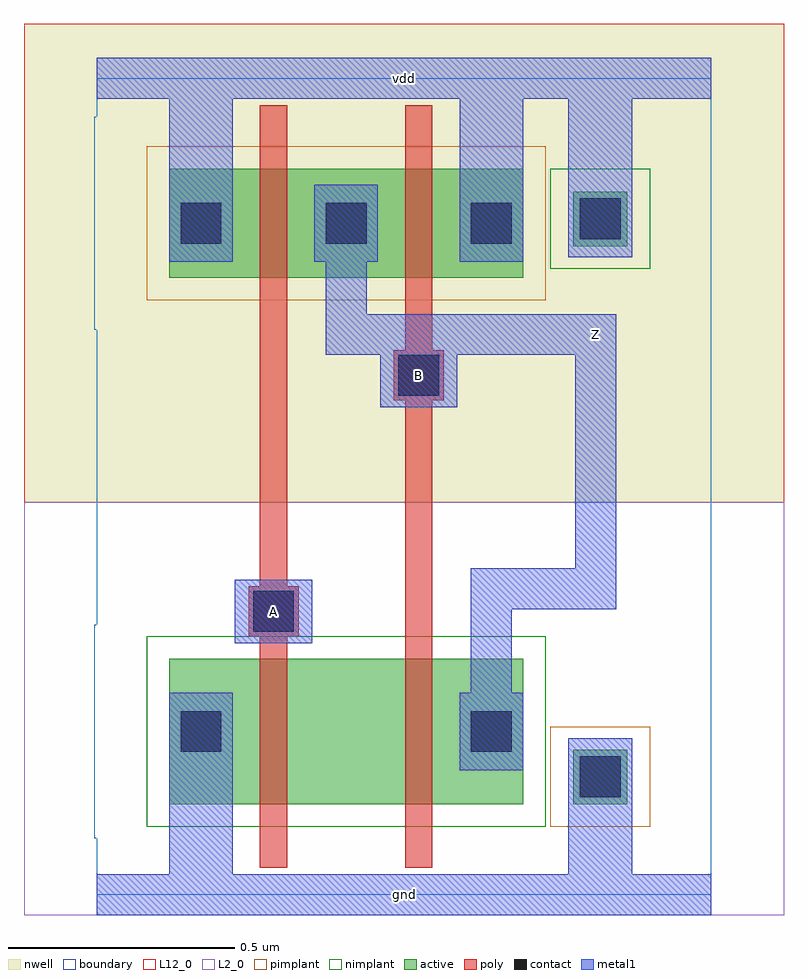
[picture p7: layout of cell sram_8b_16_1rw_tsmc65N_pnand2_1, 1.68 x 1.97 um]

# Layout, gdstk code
import gdstk
lib = gdstk.Library(unit=1e-6, precision=1e-09)
def R(c, l, rs):  # rectangles x0, y0, x1, y1
    for r in rs: c.add(gdstk.rectangle(r[:2], r[2:], *l))
L2_0 = (2, 0)
nwell = (3, 0)
active = (6, 0)
L12_0 = (12, 0)
poly = (17, 0)
pimplant = (25, 0)
nimplant = (26, 0)
contact = (30, 0)
metal1 = (31, 0)
boundary = (108, 0)

sram_8b_16_1rw_tsmc65n_c = lib.new_cell('sram_8b_16_1rw_tsmc65N_contact_11')
R(sram_8b_16_1rw_tsmc65n_c, nwell, [(-0.165,-0.15,0.305,0.32)])
R(sram_8b_16_1rw_tsmc65n_c, active, [(0.01,0.025,0.13,0.145)])
R(sram_8b_16_1rw_tsmc65n_c, pimplant, [(-0.04,-0.025,0.18,0.195)])
R(sram_8b_16_1rw_tsmc65n_c, contact, [(0.025,0.04,0.115,0.13)])
R(sram_8b_16_1rw_tsmc65n_c, metal1, [(0,0,0.14,0.17)])
R(sram_8b_16_1rw_tsmc65n_c, boundary, [(-0.165,-0.15,0.305,0.32)])

sram_8b_16_1rw_tsmc65n_p = lib.new_cell('sram_8b_16_1rw_tsmc65N_pmos_m1_w0_242_sm1_dm1')
R(sram_8b_16_1rw_tsmc65n_p, nwell, [(-0.16,-0.16,0.62,0.4)])
R(sram_8b_16_1rw_tsmc65n_p, active, [(0,0,0.46,0.24)])
R(sram_8b_16_1rw_tsmc65n_p, L12_0, [(-0.16,-0.16,0.62,0.4)])
R(sram_8b_16_1rw_tsmc65n_p, poly, [(0.2,-0.14,0.26,0.38), (0.2,-0.14,0.26,0.38)])
R(sram_8b_16_1rw_tsmc65n_p, pimplant, [(-0.05,-0.05,0.51,0.29)])
R(sram_8b_16_1rw_tsmc65n_p, metal1, [(0,0.035,0.14,0.205), (0.32,0.035,0.46,0.205)])
R(sram_8b_16_1rw_tsmc65n_p, boundary, [(-0.16,-0.16,0.62,0.4)])
sram_8b_16_1rw_tsmc65n_p.add(gdstk.Reference(sram_8b_16_1rw_tsmc65n_c, (0,0.035)))
sram_8b_16_1rw_tsmc65n_p.add(gdstk.Reference(sram_8b_16_1rw_tsmc65n_c, (0.32,0.035)))
sram_8b_16_1rw_tsmc65n_p.add(gdstk.Label('G', (0.23,0.12), layer=17, texttype=0))
sram_8b_16_1rw_tsmc65n_p.add(gdstk.Label('S', (0.07,0.12), layer=31, texttype=0))
sram_8b_16_1rw_tsmc65n_p.add(gdstk.Label('D', (0.39,0.12), layer=31, texttype=0))

c_sram_8b_16_1rw_tsmc65n_c = lib.new_cell('sram_8b_16_1rw_tsmc65N_contact_10')
R(c_sram_8b_16_1rw_tsmc65n_c, L2_0, [(-0.165,-0.15,0.305,0.32)])
R(c_sram_8b_16_1rw_tsmc65n_c, active, [(0.01,0.025,0.13,0.145)])
R(c_sram_8b_16_1rw_tsmc65n_c, nimplant, [(-0.04,-0.025,0.18,0.195)])
R(c_sram_8b_16_1rw_tsmc65n_c, contact, [(0.025,0.04,0.115,0.13)])
R(c_sram_8b_16_1rw_tsmc65n_c, metal1, [(0,0,0.14,0.17)])
R(c_sram_8b_16_1rw_tsmc65n_c, boundary, [(-0.165,-0.15,0.305,0.32)])

sram_8b_16_1rw_tsmc65n_n = lib.new_cell('sram_8b_16_1rw_tsmc65N_nmos_m1_w0_320_sm1_dactive')
R(sram_8b_16_1rw_tsmc65n_n, L2_0, [(-0.16,-0.16,0.62,0.48)])
R(sram_8b_16_1rw_tsmc65n_n, active, [(0,0,0.46,0.32), (0.35,0.12,0.43,0.2)])
R(sram_8b_16_1rw_tsmc65n_n, L12_0, [(-0.16,-0.16,0.62,0.48)])
R(sram_8b_16_1rw_tsmc65n_n, poly, [(0.2,-0.14,0.26,0.46), (0.2,-0.14,0.26,0.46)])
R(sram_8b_16_1rw_tsmc65n_n, nimplant, [(-0.05,-0.05,0.51,0.37)])
R(sram_8b_16_1rw_tsmc65n_n, metal1, [(0,0.075,0.14,0.245)])
R(sram_8b_16_1rw_tsmc65n_n, boundary, [(-0.16,-0.16,0.62,0.48)])
sram_8b_16_1rw_tsmc65n_n.add(gdstk.Reference(c_sram_8b_16_1rw_tsmc65n_c, (0,0.075)))
sram_8b_16_1rw_tsmc65n_n.add(gdstk.Label('G', (0.23,0.16), layer=17, texttype=0))
sram_8b_16_1rw_tsmc65n_n.add(gdstk.Label('S', (0.07,0.16), layer=31, texttype=0))
sram_8b_16_1rw_tsmc65n_n.add(gdstk.Label('D', (0.39,0.16), layer=6, texttype=0))

c_sram_8b_16_1rw_tsmc65n_n = lib.new_cell('sram_8b_16_1rw_tsmc65N_nmos_m1_w0_320_sactive_dm1')
R(c_sram_8b_16_1rw_tsmc65n_n, L2_0, [(-0.16,-0.16,0.62,0.48)])
R(c_sram_8b_16_1rw_tsmc65n_n, active, [(0,0,0.46,0.32), (0.03,0.12,0.11,0.2)])
R(c_sram_8b_16_1rw_tsmc65n_n, L12_0, [(-0.16,-0.16,0.62,0.48)])
R(c_sram_8b_16_1rw_tsmc65n_n, poly, [(0.2,-0.14,0.26,0.46), (0.2,-0.14,0.26,0.46)])
R(c_sram_8b_16_1rw_tsmc65n_n, nimplant, [(-0.05,-0.05,0.51,0.37)])
R(c_sram_8b_16_1rw_tsmc65n_n, metal1, [(0.32,0.075,0.46,0.245)])
R(c_sram_8b_16_1rw_tsmc65n_n, boundary, [(-0.16,-0.16,0.62,0.48)])
c_sram_8b_16_1rw_tsmc65n_n.add(gdstk.Reference(c_sram_8b_16_1rw_tsmc65n_c, (0.32,0.075)))
c_sram_8b_16_1rw_tsmc65n_n.add(gdstk.Label('G', (0.23,0.16), layer=17, texttype=0))
c_sram_8b_16_1rw_tsmc65n_n.add(gdstk.Label('S', (0.07,0.16), layer=6, texttype=0))
c_sram_8b_16_1rw_tsmc65n_n.add(gdstk.Label('D', (0.39,0.16), layer=31, texttype=0))

c_sram_8b_16_1rw_tsmc65n_c_ = lib.new_cell('sram_8b_16_1rw_tsmc65N_contact_12')
R(c_sram_8b_16_1rw_tsmc65n_c_, nwell, [(-0.165,-0.15,0.305,0.32)])
R(c_sram_8b_16_1rw_tsmc65n_c_, active, [(0.01,0.025,0.13,0.145)])
R(c_sram_8b_16_1rw_tsmc65n_c_, nimplant, [(-0.04,-0.025,0.18,0.195)])
R(c_sram_8b_16_1rw_tsmc65n_c_, contact, [(0.025,0.04,0.115,0.13)])
R(c_sram_8b_16_1rw_tsmc65n_c_, metal1, [(0,0,0.14,0.17)])
R(c_sram_8b_16_1rw_tsmc65n_c_, boundary, [(-0.165,-0.15,0.305,0.32)])

c_sram_8b_16_1rw_tsmc65n_c__ = lib.new_cell('sram_8b_16_1rw_tsmc65N_contact_13')
R(c_sram_8b_16_1rw_tsmc65n_c__, L2_0, [(-0.165,-0.15,0.305,0.32)])
R(c_sram_8b_16_1rw_tsmc65n_c__, active, [(0.01,0.025,0.13,0.145)])
R(c_sram_8b_16_1rw_tsmc65n_c__, pimplant, [(-0.04,-0.025,0.18,0.195)])
R(c_sram_8b_16_1rw_tsmc65n_c__, contact, [(0.025,0.04,0.115,0.13)])
R(c_sram_8b_16_1rw_tsmc65n_c__, metal1, [(0,0,0.14,0.17)])
R(c_sram_8b_16_1rw_tsmc65n_c__, boundary, [(-0.165,-0.15,0.305,0.32)])

c_sram_8b_16_1rw_tsmc65n_c___ = lib.new_cell('sram_8b_16_1rw_tsmc65N_contact_14')
R(c_sram_8b_16_1rw_tsmc65n_c___, poly, [(0.03,0.015,0.14,0.125)])
R(c_sram_8b_16_1rw_tsmc65n_c___, contact, [(0.04,0.025,0.13,0.115)])
R(c_sram_8b_16_1rw_tsmc65n_c___, metal1, [(0,0,0.17,0.14)])
R(c_sram_8b_16_1rw_tsmc65n_c___, boundary, [(0,0,0.17,0.14)])

c_sram_8b_16_1rw_tsmc65n_p = lib.new_cell('sram_8b_16_1rw_tsmc65N_pnand2_1')
R(c_sram_8b_16_1rw_tsmc65n_p, L2_0, [(-0.16,-0.045,1.515,0.865)])
R(c_sram_8b_16_1rw_tsmc65n_p, nwell, [(-0.16,0.865,1.515,1.92)])
R(c_sram_8b_16_1rw_tsmc65n_p, L12_0, [(-0.16,-0.045,1.515,0.865), (-0.16,0.865,1.515,1.92)])
R(c_sram_8b_16_1rw_tsmc65n_p, poly, [(0.36,0.57,0.39,0.68), (0.36,0.66,0.42,1.22), (0.68,0.66,0.74,1.22), (0.68,1.09,0.71,1.2)])
R(c_sram_8b_16_1rw_tsmc65n_p, metal1, [(0,-0.045,1.355,0.045), (0.16,-0.045,0.3,0.275), (1.04,0,1.18,0.26), (0.825,0.445,0.915,0.675), (0.305,0.555,0.475,0.695), (0.825,0.63,0.915,0.72), (0.87,0.63,1.1,0.72), (1.055,0.63,1.145,0.72), (1.055,0.675,1.145,1.235), (0.625,1.075,0.795,1.215), (0.505,1.19,0.595,1.28), (0.55,1.19,1.1,1.28), (1.055,1.19,1.145,1.28), (0.505,1.235,0.595,1.395), (0.16,1.395,0.3,1.845), (0.8,1.395,0.94,1.845), (1.04,1.49,1.18,1.8), (0,1.755,1.355,1.845)])
R(c_sram_8b_16_1rw_tsmc65n_p, boundary, [(0,0,1.355,1.8), (0,0,1.355,1.8)])
c_sram_8b_16_1rw_tsmc65n_p.add(gdstk.Reference(sram_8b_16_1rw_tsmc65n_p, (0.16,1.36)))
c_sram_8b_16_1rw_tsmc65n_p.add(gdstk.Reference(sram_8b_16_1rw_tsmc65n_p, (0.48,1.36)))
c_sram_8b_16_1rw_tsmc65n_p.add(gdstk.Reference(sram_8b_16_1rw_tsmc65n_n, (0.16,0.2)))
c_sram_8b_16_1rw_tsmc65n_p.add(gdstk.Reference(c_sram_8b_16_1rw_tsmc65n_n, (0.48,0.2)))
c_sram_8b_16_1rw_tsmc65n_p.add(gdstk.Reference(c_sram_8b_16_1rw_tsmc65n_c_, (1.04,1.405)))
c_sram_8b_16_1rw_tsmc65n_p.add(gdstk.Reference(c_sram_8b_16_1rw_tsmc65n_c__, (1.04,0.175)))
c_sram_8b_16_1rw_tsmc65n_p.add(gdstk.Reference(c_sram_8b_16_1rw_tsmc65n_c___, (0.305,0.555)))
c_sram_8b_16_1rw_tsmc65n_p.add(gdstk.Reference(c_sram_8b_16_1rw_tsmc65n_c___, (0.625,1.075)))
c_sram_8b_16_1rw_tsmc65n_p.add(gdstk.Label('Z', (1.1,1.235), layer=31, texttype=0))
c_sram_8b_16_1rw_tsmc65n_p.add(gdstk.Label('gnd', (0.678,0), layer=31, texttype=0))
c_sram_8b_16_1rw_tsmc65n_p.add(gdstk.Label('vdd', (0.678,1.8), layer=31, texttype=0))
c_sram_8b_16_1rw_tsmc65n_p.add(gdstk.Label('A', (0.39,0.625), layer=31, texttype=0))
c_sram_8b_16_1rw_tsmc65n_p.add(gdstk.Label('B', (0.71,1.145), layer=31, texttype=0))

lib.write_gds('sram_8b_16_1rw_tsmc65N_pnand2_1.gds')
